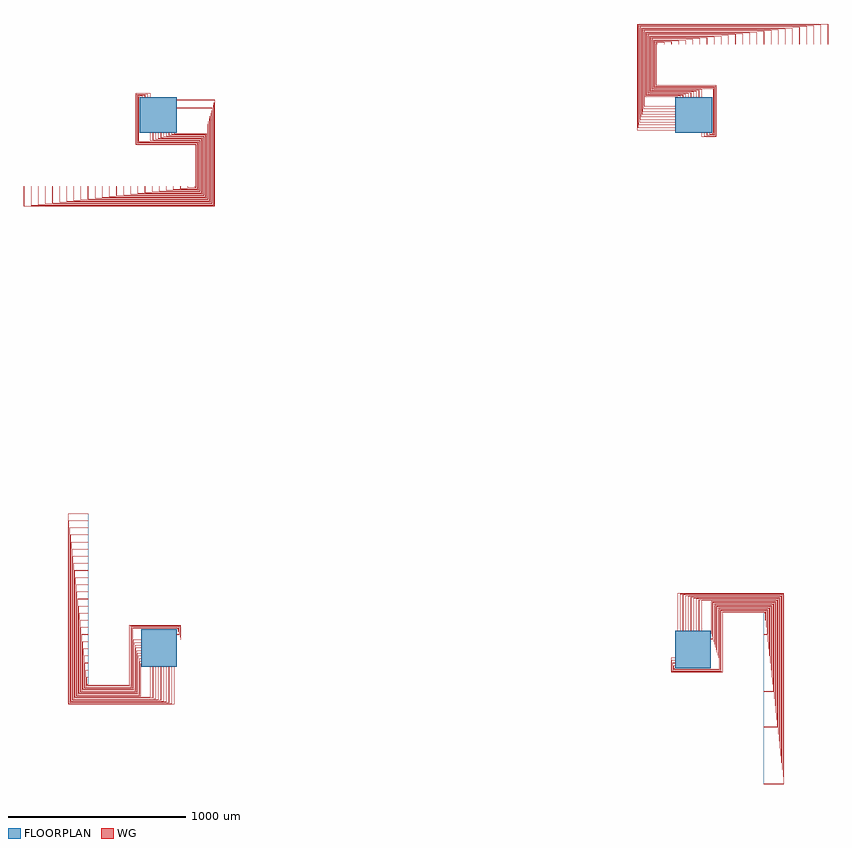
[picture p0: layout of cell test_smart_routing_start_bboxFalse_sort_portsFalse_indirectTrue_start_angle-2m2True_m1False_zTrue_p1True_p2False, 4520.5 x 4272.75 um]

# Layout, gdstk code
import gdstk
lib = gdstk.Library(unit=1e-6, precision=1e-09)
def R(c, l, rs):  # rectangles x0, y0, x1, y1
    for r in rs: c.add(gdstk.rectangle(r[:2], r[2:], *l))
def P(c, l, *ps):  # polygons
    for p in ps: c.add(gdstk.Polygon(p, *l))
WG = (1, 0)
FLOORPLAN = (10, 0)

test_smart_routing_start = lib.new_cell('test_smart_routing_start_bboxFalse_sort_portsFalse_indirectTrue_start_angle-2m2True_m1False_zTrue_p1True_p2False')
P(test_smart_routing_start, WG, [(3049.75,2877.5),(3049.75,2900),(3049.95,2900),(3049.95,2877.7),(3132.55,2877.7),(3132.55,3167.3),(2795.55,3167.3),(2795.55,3404.2),(2799.95,3404.2),(2799.95,3400),(2799.75,3400),(2799.75,3404),(2795.75,3404),(2795.75,3167.5),(3132.75,3167.5),(3132.75,2877.5)],
  [(3050.05,2877.8),(3050.05,2900),(3050.25,2900),(3050.25,2878),(3132.25,2878),(3132.25,3167),(2795.25,3167),(2795.25,3404.5),(2800.25,3404.5),(2800.25,3400),(2800.05,3400),(2800.05,3404.3),(2795.45,3404.3),(2795.45,3167.2),(3132.45,3167.2),(3132.45,2877.8)],
  [(3064.75,2882),(3064.75,2900),(3064.95,2900),(3064.95,2882.2),(3128.05,2882.2),(3128.05,3162.8),(2791.05,3162.8),(2791.05,3408.7),(2839.95,3408.7),(2839.95,3400),(2839.75,3400),(2839.75,3408.5),(2791.25,3408.5),(2791.25,3163),(3128.25,3163),(3128.25,2882)],
  [(3065.05,2882.3),(3065.05,2900),(3065.25,2900),(3065.25,2882.5),(3127.75,2882.5),(3127.75,3162.5),(2790.75,3162.5),(2790.75,3409),(2840.25,3409),(2840.25,3400),(2840.05,3400),(2840.05,3408.8),(2790.95,3408.8),(2790.95,3162.7),(3127.95,3162.7),(3127.95,2882.3)],
  [(3079.75,2886.5),(3079.75,2900),(3079.95,2900),(3079.95,2886.7),(3123.55,2886.7),(3123.55,3158.3),(2786.55,3158.3),(2786.55,3413.2),(2879.95,3413.2),(2879.95,3400),(2879.75,3400),(2879.75,3413),(2786.75,3413),(2786.75,3158.5),(3123.75,3158.5),(3123.75,2886.5)],
  [(3080.05,2886.8),(3080.05,2900),(3080.25,2900),(3080.25,2887),(3123.25,2887),(3123.25,3158),(2786.25,3158),(2786.25,3413.5),(2880.25,3413.5),(2880.25,3400),(2880.05,3400),(2880.05,3413.3),(2786.45,3413.3),(2786.45,3158.2),(3123.45,3158.2),(3123.45,2886.8)],
  [(3094.75,2891),(3094.75,2900),(3094.95,2900),(3094.95,2891.2),(3119.05,2891.2),(3119.05,3153.8),(2782.05,3153.8),(2782.05,3417.7),(2919.95,3417.7),(2919.95,3400),(2919.75,3400),(2919.75,3417.5),(2782.25,3417.5),(2782.25,3154),(3119.25,3154),(3119.25,2891)],
  [(3095.05,2891.3),(3095.05,2900),(3095.25,2900),(3095.25,2891.5),(3118.75,2891.5),(3118.75,3153.5),(2781.75,3153.5),(2781.75,3418),(2920.25,3418),(2920.25,3400),(2920.05,3400),(2920.05,3417.8),(2781.95,3417.8),(2781.95,3153.7),(3118.95,3153.7),(3118.95,2891.3)],
  [(3109.75,2895.5),(3109.75,2900),(3109.95,2900),(3109.95,2895.7),(3114.55,2895.7),(3114.55,3149.3),(2777.55,3149.3),(2777.55,3422.2),(2959.95,3422.2),(2959.95,3400),(2959.75,3400),(2959.75,3422),(2777.75,3422),(2777.75,3149.5),(3114.75,3149.5),(3114.75,2895.5)],
  [(3110.05,2895.8),(3110.05,2900),(3110.25,2900),(3110.25,2896),(3114.25,2896),(3114.25,3149),(2777.25,3149),(2777.25,3422.5),(2960.25,3422.5),(2960.25,3400),(2960.05,3400),(2960.05,3422.3),(2777.45,3422.3),(2777.45,3149.2),(3114.45,3149.2),(3114.45,2895.8)],
  [(3050.05,3100),(3050.05,3144.8),(2773.05,3144.8),(2773.05,3426.7),(2999.95,3426.7),(2999.95,3400),(2999.75,3400),(2999.75,3426.5),(2773.25,3426.5),(2773.25,3145),(3050.25,3145),(3050.25,3100)],
  [(3049.75,3100),(3049.75,3144.5),(2772.75,3144.5),(2772.75,3427),(3000.25,3427),(3000.25,3400),(3000.05,3400),(3000.05,3426.8),(2772.95,3426.8),(2772.95,3144.7),(3049.95,3144.7),(3049.95,3100)],
  [(3035.05,3100),(3035.05,3140.3),(2768.55,3140.3),(2768.55,3431.2),(3039.95,3431.2),(3039.95,3400),(3039.75,3400),(3039.75,3431),(2768.75,3431),(2768.75,3140.5),(3035.25,3140.5),(3035.25,3100)],
  [(3034.75,3100),(3034.75,3140),(2768.25,3140),(2768.25,3431.5),(3040.25,3431.5),(3040.25,3400),(3040.05,3400),(3040.05,3431.3),(2768.45,3431.3),(2768.45,3140.2),(3034.95,3140.2),(3034.95,3100)],
  [(3020.05,3100),(3020.05,3135.8),(2764.05,3135.8),(2764.05,3435.7),(3079.95,3435.7),(3079.95,3400),(3079.75,3400),(3079.75,3435.5),(2764.25,3435.5),(2764.25,3136),(3020.25,3136),(3020.25,3100)],
  [(3019.75,3100),(3019.75,3135.5),(2763.75,3135.5),(2763.75,3436),(3080.25,3436),(3080.25,3400),(3080.05,3400),(3080.05,3435.8),(2763.95,3435.8),(2763.95,3135.7),(3019.95,3135.7),(3019.95,3100)],
  [(3005.05,3100),(3005.05,3131.3),(2759.55,3131.3),(2759.55,3440.2),(3119.95,3440.2),(3119.95,3400),(3119.75,3400),(3119.75,3440),(2759.75,3440),(2759.75,3131.5),(3005.25,3131.5),(3005.25,3100)],
  [(3004.75,3100),(3004.75,3131),(2759.25,3131),(2759.25,3440.5),(3120.25,3440.5),(3120.25,3400),(3120.05,3400),(3120.05,3440.3),(2759.45,3440.3),(2759.45,3131.2),(3004.95,3131.2),(3004.95,3100)],
  [(2990.05,3100),(2990.05,3126.8),(2755.05,3126.8),(2755.05,3444.7),(3159.95,3444.7),(3159.95,3400),(3159.75,3400),(3159.75,3444.5),(2755.25,3444.5),(2755.25,3127),(2990.25,3127),(2990.25,3100)],
  [(2989.75,3100),(2989.75,3126.5),(2754.75,3126.5),(2754.75,3445),(3160.25,3445),(3160.25,3400),(3160.05,3400),(3160.05,3444.8),(2754.95,3444.8),(2754.95,3126.7),(2989.95,3126.7),(2989.95,3100)],
  [(2975.05,3100),(2975.05,3122.3),(2750.55,3122.3),(2750.55,3449.2),(3199.95,3449.2),(3199.95,3400),(3199.75,3400),(3199.75,3449),(2750.75,3449),(2750.75,3122.5),(2975.25,3122.5),(2975.25,3100)],
  [(2974.75,3100),(2974.75,3122),(2750.25,3122),(2750.25,3449.5),(3200.25,3449.5),(3200.25,3400),(3200.05,3400),(3200.05,3449.3),(2750.45,3449.3),(2750.45,3122.2),(2974.95,3122.2),(2974.95,3100)],
  [(2960.05,3100),(2960.05,3117.8),(2746.05,3117.8),(2746.05,3453.7),(3239.95,3453.7),(3239.95,3400),(3239.75,3400),(3239.75,3453.5),(2746.25,3453.5),(2746.25,3118),(2960.25,3118),(2960.25,3100)],
  [(2959.75,3100),(2959.75,3117.5),(2745.75,3117.5),(2745.75,3454),(3240.25,3454),(3240.25,3400),(3240.05,3400),(3240.05,3453.8),(2745.95,3453.8),(2745.95,3117.7),(2959.95,3117.7),(2959.95,3100)],
  [(2945.05,3100),(2945.05,3113.3),(2741.55,3113.3),(2741.55,3458.2),(3279.95,3458.2),(3279.95,3400),(3279.75,3400),(3279.75,3458),(2741.75,3458),(2741.75,3113.5),(2945.25,3113.5),(2945.25,3100)],
  [(2944.75,3100),(2944.75,3113),(2741.25,3113),(2741.25,3458.5),(3280.25,3458.5),(3280.25,3400),(3280.05,3400),(3280.05,3458.3),(2741.45,3458.3),(2741.45,3113.2),(2944.95,3113.2),(2944.95,3100)],
  [(2930.05,3100),(2930.05,3108.8),(2737.05,3108.8),(2737.05,3462.7),(3319.95,3462.7),(3319.95,3400),(3319.75,3400),(3319.75,3462.5),(2737.25,3462.5),(2737.25,3109),(2930.25,3109),(2930.25,3100)],
  [(2929.75,3100),(2929.75,3108.5),(2736.75,3108.5),(2736.75,3463),(3320.25,3463),(3320.25,3400),(3320.05,3400),(3320.05,3462.8),(2736.95,3462.8),(2736.95,3108.7),(2929.95,3108.7),(2929.95,3100)],
  [(2915.05,3100),(2915.05,3104.3),(2732.55,3104.3),(2732.55,3467.2),(3359.95,3467.2),(3359.95,3400),(3359.75,3400),(3359.75,3467),(2732.75,3467),(2732.75,3104.5),(2915.25,3104.5),(2915.25,3100)],
  [(2914.75,3100),(2914.75,3104),(2732.25,3104),(2732.25,3467.5),(3360.25,3467.5),(3360.25,3400),(3360.05,3400),(3360.05,3467.3),(2732.45,3467.3),(2732.45,3104.2),(2914.95,3104.2),(2914.95,3100)],
  [(2728.05,3050.05),(2728.05,3471.7),(3399.95,3471.7),(3399.95,3400),(3399.75,3400),(3399.75,3471.5),(2728.25,3471.5),(2728.25,3050.25),(2900,3050.25),(2900,3050.05)],
  [(2727.75,3049.75),(2727.75,3472),(3400.25,3472),(3400.25,3400),(3400.05,3400),(3400.05,3471.8),(2727.95,3471.8),(2727.95,3049.95),(2900,3049.95),(2900,3049.75)],
  [(2723.55,3035.05),(2723.55,3476.2),(3439.95,3476.2),(3439.95,3400),(3439.75,3400),(3439.75,3476),(2723.75,3476),(2723.75,3035.25),(2900,3035.25),(2900,3035.05)],
  [(2723.25,3034.75),(2723.25,3476.5),(3440.25,3476.5),(3440.25,3400),(3440.05,3400),(3440.05,3476.3),(2723.45,3476.3),(2723.45,3034.95),(2900,3034.95),(2900,3034.75)],
  [(2719.05,3020.05),(2719.05,3480.7),(3479.95,3480.7),(3479.95,3400),(3479.75,3400),(3479.75,3480.5),(2719.25,3480.5),(2719.25,3020.25),(2900,3020.25),(2900,3020.05)],
  [(2718.75,3019.75),(2718.75,3481),(3480.25,3481),(3480.25,3400),(3480.05,3400),(3480.05,3480.8),(2718.95,3480.8),(2718.95,3019.95),(2900,3019.95),(2900,3019.75)],
  [(2714.55,3005.05),(2714.55,3485.2),(3519.95,3485.2),(3519.95,3400),(3519.75,3400),(3519.75,3485),(2714.75,3485),(2714.75,3005.25),(2900,3005.25),(2900,3005.05)],
  [(2714.25,3004.75),(2714.25,3485.5),(3520.25,3485.5),(3520.25,3400),(3520.05,3400),(3520.05,3485.3),(2714.45,3485.3),(2714.45,3004.95),(2900,3004.95),(2900,3004.75)],
  [(2710.05,2990.05),(2710.05,3489.7),(3559.95,3489.7),(3559.95,3400),(3559.75,3400),(3559.75,3489.5),(2710.25,3489.5),(2710.25,2990.25),(2900,2990.25),(2900,2990.05)],
  [(2709.75,2989.75),(2709.75,3490),(3560.25,3490),(3560.25,3400),(3560.05,3400),(3560.05,3489.8),(2709.95,3489.8),(2709.95,2989.95),(2900,2989.95),(2900,2989.75)],
  [(2705.55,2975.05),(2705.55,3494.2),(3599.95,3494.2),(3599.95,3400),(3599.75,3400),(3599.75,3494),(2705.75,3494),(2705.75,2975.25),(2900,2975.25),(2900,2975.05)],
  [(2705.25,2974.75),(2705.25,3494.5),(3600.25,3494.5),(3600.25,3400),(3600.05,3400),(3600.05,3494.3),(2705.45,3494.3),(2705.45,2974.95),(2900,2974.95),(2900,2974.75)],
  [(2701.05,2960.05),(2701.05,3498.7),(3639.95,3498.7),(3639.95,3400),(3639.75,3400),(3639.75,3498.5),(2701.25,3498.5),(2701.25,2960.25),(2900,2960.25),(2900,2960.05)],
  [(2700.75,2959.75),(2700.75,3499),(3640.25,3499),(3640.25,3400),(3640.05,3400),(3640.05,3498.8),(2700.95,3498.8),(2700.95,2959.95),(2900,2959.95),(2900,2959.75)],
  [(2696.55,2945.05),(2696.55,3503.2),(3679.95,3503.2),(3679.95,3400),(3679.75,3400),(3679.75,3503),(2696.75,3503),(2696.75,2945.25),(2900,2945.25),(2900,2945.05)],
  [(2696.25,2944.75),(2696.25,3503.5),(3680.25,3503.5),(3680.25,3400),(3680.05,3400),(3680.05,3503.3),(2696.45,3503.3),(2696.45,2944.95),(2900,2944.95),(2900,2944.75)],
  [(2692.05,2930.05),(2692.05,3507.7),(3719.95,3507.7),(3719.95,3400),(3719.75,3400),(3719.75,3507.5),(2692.25,3507.5),(2692.25,2930.25),(2900,2930.25),(2900,2930.05)],
  [(2691.75,2929.75),(2691.75,3508),(3720.25,3508),(3720.25,3400),(3720.05,3400),(3720.05,3507.8),(2691.95,3507.8),(2691.95,2929.95),(2900,2929.95),(2900,2929.75)],
  [(2687.55,2915.05),(2687.55,3512.2),(3759.95,3512.2),(3759.95,3400),(3759.75,3400),(3759.75,3512),(2687.75,3512),(2687.75,2915.25),(2900,2915.25),(2900,2915.05)],
  [(2687.25,2914.75),(2687.25,3512.5),(3760.25,3512.5),(3760.25,3400),(3760.05,3400),(3760.05,3512.3),(2687.45,3512.3),(2687.45,2914.95),(2900,2914.95),(2900,2914.75)],
  [(199.75,2595.5),(199.75,2600),(199.95,2600),(199.95,2595.7),(204.55,2595.7),(204.55,2832.8),(-132.45,2832.8),(-132.45,3122.2),(-50.05,3122.2),(-50.05,3100),(-50.25,3100),(-50.25,3122),(-132.25,3122),(-132.25,2833),(204.75,2833),(204.75,2595.5)],
  [(200.05,2595.8),(200.05,2600),(200.25,2600),(200.25,2596),(204.25,2596),(204.25,2832.5),(-132.75,2832.5),(-132.75,3122.5),(-49.75,3122.5),(-49.75,3100),(-49.95,3100),(-49.95,3122.3),(-132.55,3122.3),(-132.55,2832.7),(204.45,2832.7),(204.45,2595.8)],
  [(159.75,2591),(159.75,2600),(159.95,2600),(159.95,2591.2),(209.05,2591.2),(209.05,2837.3),(-127.95,2837.3),(-127.95,3117.7),(-65.05,3117.7),(-65.05,3100),(-65.25,3100),(-65.25,3117.5),(-127.75,3117.5),(-127.75,2837.5),(209.25,2837.5),(209.25,2591)],
  [(160.05,2591.3),(160.05,2600),(160.25,2600),(160.25,2591.5),(208.75,2591.5),(208.75,2837),(-128.25,2837),(-128.25,3118),(-64.75,3118),(-64.75,3100),(-64.95,3100),(-64.95,3117.8),(-128.05,3117.8),(-128.05,2837.2),(208.95,2837.2),(208.95,2591.3)],
  [(119.75,2586.5),(119.75,2600),(119.95,2600),(119.95,2586.7),(213.55,2586.7),(213.55,2841.8),(-123.45,2841.8),(-123.45,3113.2),(-80.05,3113.2),(-80.05,3100),(-80.25,3100),(-80.25,3113),(-123.25,3113),(-123.25,2842),(213.75,2842),(213.75,2586.5)],
  [(120.05,2586.8),(120.05,2600),(120.25,2600),(120.25,2587),(213.25,2587),(213.25,2841.5),(-123.75,2841.5),(-123.75,3113.5),(-79.75,3113.5),(-79.75,3100),(-79.95,3100),(-79.95,3113.3),(-123.55,3113.3),(-123.55,2841.7),(213.45,2841.7),(213.45,2586.8)],
  [(79.75,2582),(79.75,2600),(79.95,2600),(79.95,2582.2),(218.05,2582.2),(218.05,2846.3),(-118.95,2846.3),(-118.95,3108.7),(-95.05,3108.7),(-95.05,3100),(-95.25,3100),(-95.25,3108.5),(-118.75,3108.5),(-118.75,2846.5),(218.25,2846.5),(218.25,2582)],
  [(80.05,2582.3),(80.05,2600),(80.25,2600),(80.25,2582.5),(217.75,2582.5),(217.75,2846),(-119.25,2846),(-119.25,3109),(-94.75,3109),(-94.75,3100),(-94.95,3100),(-94.95,3108.8),(-119.05,3108.8),(-119.05,2846.2),(217.95,2846.2),(217.95,2582.3)],
  [(39.75,2577.5),(39.75,2600),(39.95,2600),(39.95,2577.7),(222.55,2577.7),(222.55,2850.8),(-114.45,2850.8),(-114.45,3104.2),(-110.05,3104.2),(-110.05,3100),(-110.25,3100),(-110.25,3104),(-114.25,3104),(-114.25,2851),(222.75,2851),(222.75,2577.5)],
  [(40.05,2577.8),(40.05,2600),(40.25,2600),(40.25,2578),(222.25,2578),(222.25,2850.5),(-114.75,2850.5),(-114.75,3104.5),(-109.75,3104.5),(-109.75,3100),(-109.95,3100),(-109.95,3104.3),(-114.55,3104.3),(-114.55,2850.7),(222.45,2850.7),(222.45,2577.8)],
  [(0.05,2573.3),(0.05,2600),(0.25,2600),(0.25,2573.5),(226.75,2573.5),(226.75,2855),(-50.25,2855),(-50.25,2900),(-50.05,2900),(-50.05,2855.2),(226.95,2855.2),(226.95,2573.3)],
  [(-0.25,2573),(-0.25,2600),(-0.05,2600),(-0.05,2573.2),(227.05,2573.2),(227.05,2855.3),(-49.95,2855.3),(-49.95,2900),(-49.75,2900),(-49.75,2855.5),(227.25,2855.5),(227.25,2573)],
  [(-39.95,2568.8),(-39.95,2600),(-39.75,2600),(-39.75,2569),(231.25,2569),(231.25,2859.5),(-35.25,2859.5),(-35.25,2900),(-35.05,2900),(-35.05,2859.7),(231.45,2859.7),(231.45,2568.8)],
  [(-40.25,2568.5),(-40.25,2600),(-40.05,2600),(-40.05,2568.7),(231.55,2568.7),(231.55,2859.8),(-34.95,2859.8),(-34.95,2900),(-34.75,2900),(-34.75,2860),(231.75,2860),(231.75,2568.5)],
  [(-79.95,2564.3),(-79.95,2600),(-79.75,2600),(-79.75,2564.5),(235.75,2564.5),(235.75,2864),(-20.25,2864),(-20.25,2900),(-20.05,2900),(-20.05,2864.2),(235.95,2864.2),(235.95,2564.3)],
  [(-80.25,2564),(-80.25,2600),(-80.05,2600),(-80.05,2564.2),(236.05,2564.2),(236.05,2864.3),(-19.95,2864.3),(-19.95,2900),(-19.75,2900),(-19.75,2864.5),(236.25,2864.5),(236.25,2564)],
  [(-119.95,2559.8),(-119.95,2600),(-119.75,2600),(-119.75,2560),(240.25,2560),(240.25,2868.5),(-5.25,2868.5),(-5.25,2900),(-5.05,2900),(-5.05,2868.7),(240.45,2868.7),(240.45,2559.8)],
  [(-120.25,2559.5),(-120.25,2600),(-120.05,2600),(-120.05,2559.7),(240.55,2559.7),(240.55,2868.8),(-4.95,2868.8),(-4.95,2900),(-4.75,2900),(-4.75,2869),(240.75,2869),(240.75,2559.5)],
  [(-159.95,2555.3),(-159.95,2600),(-159.75,2600),(-159.75,2555.5),(244.75,2555.5),(244.75,2873),(9.75,2873),(9.75,2900),(9.95,2900),(9.95,2873.2),(244.95,2873.2),(244.95,2555.3)],
  [(-160.25,2555),(-160.25,2600),(-160.05,2600),(-160.05,2555.2),(245.05,2555.2),(245.05,2873.3),(10.05,2873.3),(10.05,2900),(10.25,2900),(10.25,2873.5),(245.25,2873.5),(245.25,2555)],
  [(-199.95,2550.8),(-199.95,2600),(-199.75,2600),(-199.75,2551),(249.25,2551),(249.25,2877.5),(24.75,2877.5),(24.75,2900),(24.95,2900),(24.95,2877.7),(249.45,2877.7),(249.45,2550.8)],
  [(-200.25,2550.5),(-200.25,2600),(-200.05,2600),(-200.05,2550.7),(249.55,2550.7),(249.55,2877.8),(25.05,2877.8),(25.05,2900),(25.25,2900),(25.25,2878),(249.75,2878),(249.75,2550.5)],
  [(-239.95,2546.3),(-239.95,2600),(-239.75,2600),(-239.75,2546.5),(253.75,2546.5),(253.75,2882),(39.75,2882),(39.75,2900),(39.95,2900),(39.95,2882.2),(253.95,2882.2),(253.95,2546.3)],
  [(-240.25,2546),(-240.25,2600),(-240.05,2600),(-240.05,2546.2),(254.05,2546.2),(254.05,2882.3),(40.05,2882.3),(40.05,2900),(40.25,2900),(40.25,2882.5),(254.25,2882.5),(254.25,2546)],
  [(-279.95,2541.8),(-279.95,2600),(-279.75,2600),(-279.75,2542),(258.25,2542),(258.25,2886.5),(54.75,2886.5),(54.75,2900),(54.95,2900),(54.95,2886.7),(258.45,2886.7),(258.45,2541.8)],
  [(-280.25,2541.5),(-280.25,2600),(-280.05,2600),(-280.05,2541.7),(258.55,2541.7),(258.55,2886.8),(55.05,2886.8),(55.05,2900),(55.25,2900),(55.25,2887),(258.75,2887),(258.75,2541.5)],
  [(-319.95,2537.3),(-319.95,2600),(-319.75,2600),(-319.75,2537.5),(262.75,2537.5),(262.75,2891),(69.75,2891),(69.75,2900),(69.95,2900),(69.95,2891.2),(262.95,2891.2),(262.95,2537.3)],
  [(-320.25,2537),(-320.25,2600),(-320.05,2600),(-320.05,2537.2),(263.05,2537.2),(263.05,2891.3),(70.05,2891.3),(70.05,2900),(70.25,2900),(70.25,2891.5),(263.25,2891.5),(263.25,2537)],
  [(-359.95,2532.8),(-359.95,2600),(-359.75,2600),(-359.75,2533),(267.25,2533),(267.25,2895.5),(84.75,2895.5),(84.75,2900),(84.95,2900),(84.95,2895.7),(267.45,2895.7),(267.45,2532.8)],
  [(-360.25,2532.5),(-360.25,2600),(-360.05,2600),(-360.05,2532.7),(267.55,2532.7),(267.55,2895.8),(85.05,2895.8),(85.05,2900),(85.25,2900),(85.25,2896),(267.75,2896),(267.75,2532.5)],
  [(-399.95,2528.3),(-399.95,2600),(-399.75,2600),(-399.75,2528.5),(271.75,2528.5),(271.75,2949.75),(100,2949.75),(100,2949.95),(271.95,2949.95),(271.95,2528.3)],
  [(-400.25,2528),(-400.25,2600),(-400.05,2600),(-400.05,2528.2),(272.05,2528.2),(272.05,2950.05),(100,2950.05),(100,2950.25),(272.25,2950.25),(272.25,2528)],
  [(-439.95,2523.8),(-439.95,2600),(-439.75,2600),(-439.75,2524),(276.25,2524),(276.25,2964.75),(100,2964.75),(100,2964.95),(276.45,2964.95),(276.45,2523.8)],
  [(-440.25,2523.5),(-440.25,2600),(-440.05,2600),(-440.05,2523.7),(276.55,2523.7),(276.55,2965.05),(100,2965.05),(100,2965.25),(276.75,2965.25),(276.75,2523.5)],
  [(-479.95,2519.3),(-479.95,2600),(-479.75,2600),(-479.75,2519.5),(280.75,2519.5),(280.75,2979.75),(100,2979.75),(100,2979.95),(280.95,2979.95),(280.95,2519.3)],
  [(-480.25,2519),(-480.25,2600),(-480.05,2600),(-480.05,2519.2),(281.05,2519.2),(281.05,2980.05),(100,2980.05),(100,2980.25),(281.25,2980.25),(281.25,2519)],
  [(-519.95,2514.8),(-519.95,2600),(-519.75,2600),(-519.75,2515),(285.25,2515),(285.25,2994.75),(100,2994.75),(100,2994.95),(285.45,2994.95),(285.45,2514.8)],
  [(-520.25,2514.5),(-520.25,2600),(-520.05,2600),(-520.05,2514.7),(285.55,2514.7),(285.55,2995.05),(100,2995.05),(100,2995.25),(285.75,2995.25),(285.75,2514.5)],
  [(-559.95,2510.3),(-559.95,2600),(-559.75,2600),(-559.75,2510.5),(289.75,2510.5),(289.75,3009.75),(100,3009.75),(100,3009.95),(289.95,3009.95),(289.95,2510.3)],
  [(-560.25,2510),(-560.25,2600),(-560.05,2600),(-560.05,2510.2),(290.05,2510.2),(290.05,3010.05),(100,3010.05),(100,3010.25),(290.25,3010.25),(290.25,2510)],
  [(-599.95,2505.8),(-599.95,2600),(-599.75,2600),(-599.75,2506),(294.25,2506),(294.25,3024.75),(100,3024.75),(100,3024.95),(294.45,3024.95),(294.45,2505.8)],
  [(-600.25,2505.5),(-600.25,2600),(-600.05,2600),(-600.05,2505.7),(294.55,2505.7),(294.55,3025.05),(100,3025.05),(100,3025.25),(294.75,3025.25),(294.75,2505.5)],
  [(-639.95,2501.3),(-639.95,2600),(-639.75,2600),(-639.75,2501.5),(298.75,2501.5),(298.75,3039.75),(100,3039.75),(100,3039.95),(298.95,3039.95),(298.95,2501.3)],
  [(-640.25,2501),(-640.25,2600),(-640.05,2600),(-640.05,2501.2),(299.05,2501.2),(299.05,3040.05),(100,3040.05),(100,3040.25),(299.25,3040.25),(299.25,2501)],
  [(-679.95,2496.8),(-679.95,2600),(-679.75,2600),(-679.75,2497),(303.25,2497),(303.25,3054.75),(100,3054.75),(100,3054.95),(303.45,3054.95),(303.45,2496.8)],
  [(-680.25,2496.5),(-680.25,2600),(-680.05,2600),(-680.05,2496.7),(303.55,2496.7),(303.55,3055.05),(100,3055.05),(100,3055.25),(303.75,3055.25),(303.75,2496.5)],
  [(-719.95,2492.3),(-719.95,2600),(-719.75,2600),(-719.75,2492.5),(307.75,2492.5),(307.75,3069.75),(100,3069.75),(100,3069.95),(307.95,3069.95),(307.95,2492.3)],
  [(-720.25,2492),(-720.25,2600),(-720.05,2600),(-720.05,2492.2),(308.05,2492.2),(308.05,3070.05),(100,3070.05),(100,3070.25),(308.25,3070.25),(308.25,2492)],
  [(-759.95,2487.8),(-759.95,2600),(-759.75,2600),(-759.75,2488),(312.25,2488),(312.25,3084.75),(100,3084.75),(100,3084.95),(312.45,3084.95),(312.45,2487.8)],
  [(-760.25,2487.5),(-760.25,2600),(-760.05,2600),(-760.05,2487.7),(312.55,2487.7),(312.55,3085.05),(100,3085.05),(100,3085.25),(312.75,3085.25),(312.75,2487.5)],
  [(-404.5,-204.75),(-404.5,-199.75),(-400,-199.75),(-400,-199.95),(-404.3,-199.95),(-404.3,-204.55),(-167.2,-204.55),(-167.2,132.45),(122.2,132.45),(122.2,50.05),(100,50.05),(100,50.25),(122,50.25),(122,132.25),(-167,132.25),(-167,-204.75)],
  [(-404.2,-204.45),(-404.2,-200.05),(-400,-200.05),(-400,-200.25),(-404,-200.25),(-404,-204.25),(-167.5,-204.25),(-167.5,132.75),(122.5,132.75),(122.5,49.75),(100,49.75),(100,49.95),(122.3,49.95),(122.3,132.55),(-167.3,132.55),(-167.3,-204.45)],
  [(-409,-209.25),(-409,-159.75),(-400,-159.75),(-400,-159.95),(-408.8,-159.95),(-408.8,-209.05),(-162.7,-209.05),(-162.7,127.95),(117.7,127.95),(117.7,65.05),(100,65.05),(100,65.25),(117.5,65.25),(117.5,127.75),(-162.5,127.75),(-162.5,-209.25)],
  [(-408.7,-208.95),(-408.7,-160.05),(-400,-160.05),(-400,-160.25),(-408.5,-160.25),(-408.5,-208.75),(-163,-208.75),(-163,128.25),(118,128.25),(118,64.75),(100,64.75),(100,64.95),(117.8,64.95),(117.8,128.05),(-162.8,128.05),(-162.8,-208.95)],
  [(-413.5,-213.75),(-413.5,-119.75),(-400,-119.75),(-400,-119.95),(-413.3,-119.95),(-413.3,-213.55),(-158.2,-213.55),(-158.2,123.45),(113.2,123.45),(113.2,80.05),(100,80.05),(100,80.25),(113,80.25),(113,123.25),(-158,123.25),(-158,-213.75)],
  [(-413.2,-213.45),(-413.2,-120.05),(-400,-120.05),(-400,-120.25),(-413,-120.25),(-413,-213.25),(-158.5,-213.25),(-158.5,123.75),(113.5,123.75),(113.5,79.75),(100,79.75),(100,79.95),(113.3,79.95),(113.3,123.55),(-158.3,123.55),(-158.3,-213.45)],
  [(-418,-218.25),(-418,-79.75),(-400,-79.75),(-400,-79.95),(-417.8,-79.95),(-417.8,-218.05),(-153.7,-218.05),(-153.7,118.95),(108.7,118.95),(108.7,95.05),(100,95.05),(100,95.25),(108.5,95.25),(108.5,118.75),(-153.5,118.75),(-153.5,-218.25)],
  [(-417.7,-217.95),(-417.7,-80.05),(-400,-80.05),(-400,-80.25),(-417.5,-80.25),(-417.5,-217.75),(-154,-217.75),(-154,119.25),(109,119.25),(109,94.75),(100,94.75),(100,94.95),(108.8,94.95),(108.8,119.05),(-153.8,119.05),(-153.8,-217.95)],
  [(-422.5,-222.75),(-422.5,-39.75),(-400,-39.75),(-400,-39.95),(-422.3,-39.95),(-422.3,-222.55),(-149.2,-222.55),(-149.2,114.45),(104.2,114.45),(104.2,110.05),(100,110.05),(100,110.25),(104,110.25),(104,114.25),(-149,114.25),(-149,-222.75)],
  [(-422.2,-222.45),(-422.2,-40.05),(-400,-40.05),(-400,-40.25),(-422,-40.25),(-422,-222.25),(-149.5,-222.25),(-149.5,114.75),(104.5,114.75),(104.5,109.75),(100,109.75),(100,109.95),(104.3,109.95),(104.3,114.55),(-149.3,114.55),(-149.3,-222.45)],
  [(-427,-227.25),(-427,0.25),(-400,0.25),(-400,0.05),(-426.8,0.05),(-426.8,-227.05),(-144.7,-227.05),(-144.7,49.95),(-100,49.95),(-100,49.75),(-144.5,49.75),(-144.5,-227.25)],
  [(-426.7,-226.95),(-426.7,-0.05),(-400,-0.05),(-400,-0.25),(-426.5,-0.25),(-426.5,-226.75),(-145,-226.75),(-145,50.25),(-100,50.25),(-100,50.05),(-144.8,50.05),(-144.8,-226.95)],
  [(-431.2,-231.45),(-431.2,39.95),(-400,39.95),(-400,39.75),(-431,39.75),(-431,-231.25),(-140.5,-231.25),(-140.5,35.25),(-100,35.25),(-100,35.05),(-140.3,35.05),(-140.3,-231.45)],
  [(-431.5,-231.75),(-431.5,40.25),(-400,40.25),(-400,40.05),(-431.3,40.05),(-431.3,-231.55),(-140.2,-231.55),(-140.2,34.95),(-100,34.95),(-100,34.75),(-140,34.75),(-140,-231.75)],
  [(-435.7,-235.95),(-435.7,79.95),(-400,79.95),(-400,79.75),(-435.5,79.75),(-435.5,-235.75),(-136,-235.75),(-136,20.25),(-100,20.25),(-100,20.05),(-135.8,20.05),(-135.8,-235.95)],
  [(-436,-236.25),(-436,80.25),(-400,80.25),(-400,80.05),(-435.8,80.05),(-435.8,-236.05),(-135.7,-236.05),(-135.7,19.95),(-100,19.95),(-100,19.75),(-135.5,19.75),(-135.5,-236.25)],
  [(-440.2,-240.45),(-440.2,119.95),(-400,119.95),(-400,119.75),(-440,119.75),(-440,-240.25),(-131.5,-240.25),(-131.5,5.25),(-100,5.25),(-100,5.05),(-131.3,5.05),(-131.3,-240.45)],
  [(-440.5,-240.75),(-440.5,120.25),(-400,120.25),(-400,120.05),(-440.3,120.05),(-440.3,-240.55),(-131.2,-240.55),(-131.2,4.95),(-100,4.95),(-100,4.75),(-131,4.75),(-131,-240.75)],
  [(-444.7,-244.95),(-444.7,159.95),(-400,159.95),(-400,159.75),(-444.5,159.75),(-444.5,-244.75),(-127,-244.75),(-127,-9.75),(-100,-9.75),(-100,-9.95),(-126.8,-9.95),(-126.8,-244.95)],
  [(-445,-245.25),(-445,160.25),(-400,160.25),(-400,160.05),(-444.8,160.05),(-444.8,-245.05),(-126.7,-245.05),(-126.7,-10.05),(-100,-10.05),(-100,-10.25),(-126.5,-10.25),(-126.5,-245.25)],
  [(-449.2,-249.45),(-449.2,199.95),(-400,199.95),(-400,199.75),(-449,199.75),(-449,-249.25),(-122.5,-249.25),(-122.5,-24.75),(-100,-24.75),(-100,-24.95),(-122.3,-24.95),(-122.3,-249.45)],
  [(-449.5,-249.75),(-449.5,200.25),(-400,200.25),(-400,200.05),(-449.3,200.05),(-449.3,-249.55),(-122.2,-249.55),(-122.2,-25.05),(-100,-25.05),(-100,-25.25),(-122,-25.25),(-122,-249.75)],
  [(-453.7,-253.95),(-453.7,239.95),(-400,239.95),(-400,239.75),(-453.5,239.75),(-453.5,-253.75),(-118,-253.75),(-118,-39.75),(-100,-39.75),(-100,-39.95),(-117.8,-39.95),(-117.8,-253.95)],
  [(-454,-254.25),(-454,240.25),(-400,240.25),(-400,240.05),(-453.8,240.05),(-453.8,-254.05),(-117.7,-254.05),(-117.7,-40.05),(-100,-40.05),(-100,-40.25),(-117.5,-40.25),(-117.5,-254.25)],
  [(-458.2,-258.45),(-458.2,279.95),(-400,279.95),(-400,279.75),(-458,279.75),(-458,-258.25),(-113.5,-258.25),(-113.5,-54.75),(-100,-54.75),(-100,-54.95),(-113.3,-54.95),(-113.3,-258.45)],
  [(-458.5,-258.75),(-458.5,280.25),(-400,280.25),(-400,280.05),(-458.3,280.05),(-458.3,-258.55),(-113.2,-258.55),(-113.2,-55.05),(-100,-55.05),(-100,-55.25),(-113,-55.25),(-113,-258.75)],
  [(-462.7,-262.95),(-462.7,319.95),(-400,319.95),(-400,319.75),(-462.5,319.75),(-462.5,-262.75),(-109,-262.75),(-109,-69.75),(-100,-69.75),(-100,-69.95),(-108.8,-69.95),(-108.8,-262.95)],
  [(-463,-263.25),(-463,320.25),(-400,320.25),(-400,320.05),(-462.8,320.05),(-462.8,-263.05),(-108.7,-263.05),(-108.7,-70.05),(-100,-70.05),(-100,-70.25),(-108.5,-70.25),(-108.5,-263.25)],
  [(-467.2,-267.45),(-467.2,359.95),(-400,359.95),(-400,359.75),(-467,359.75),(-467,-267.25),(-104.5,-267.25),(-104.5,-84.75),(-100,-84.75),(-100,-84.95),(-104.3,-84.95),(-104.3,-267.45)],
  [(-467.5,-267.75),(-467.5,360.25),(-400,360.25),(-400,360.05),(-467.3,360.05),(-467.3,-267.55),(-104.2,-267.55),(-104.2,-85.05),(-100,-85.05),(-100,-85.25),(-104,-85.25),(-104,-267.75)],
  [(-471.7,-271.95),(-471.7,399.95),(-400,399.95),(-400,399.75),(-471.5,399.75),(-471.5,-271.75),(-50.25,-271.75),(-50.25,-100),(-50.05,-100),(-50.05,-271.95)],
  [(-472,-272.25),(-472,400.25),(-400,400.25),(-400,400.05),(-471.8,400.05),(-471.8,-272.05),(-49.95,-272.05),(-49.95,-100),(-49.75,-100),(-49.75,-272.25)],
  [(-476.2,-276.45),(-476.2,439.95),(-400,439.95),(-400,439.75),(-476,439.75),(-476,-276.25),(-35.25,-276.25),(-35.25,-100),(-35.05,-100),(-35.05,-276.45)],
  [(-476.5,-276.75),(-476.5,440.25),(-400,440.25),(-400,440.05),(-476.3,440.05),(-476.3,-276.55),(-34.95,-276.55),(-34.95,-100),(-34.75,-100),(-34.75,-276.75)],
  [(-480.7,-280.95),(-480.7,479.95),(-400,479.95),(-400,479.75),(-480.5,479.75),(-480.5,-280.75),(-20.25,-280.75),(-20.25,-100),(-20.05,-100),(-20.05,-280.95)],
  [(-481,-281.25),(-481,480.25),(-400,480.25),(-400,480.05),(-480.8,480.05),(-480.8,-281.05),(-19.95,-281.05),(-19.95,-100),(-19.75,-100),(-19.75,-281.25)],
  [(-485.2,-285.45),(-485.2,519.95),(-400,519.95),(-400,519.75),(-485,519.75),(-485,-285.25),(-5.25,-285.25),(-5.25,-100),(-5.05,-100),(-5.05,-285.45)],
  [(-485.5,-285.75),(-485.5,520.25),(-400,520.25),(-400,520.05),(-485.3,520.05),(-485.3,-285.55),(-4.95,-285.55),(-4.95,-100),(-4.75,-100),(-4.75,-285.75)],
  [(-489.7,-289.95),(-489.7,559.95),(-400,559.95),(-400,559.75),(-489.5,559.75),(-489.5,-289.75),(9.75,-289.75),(9.75,-100),(9.95,-100),(9.95,-289.95)],
  [(-490,-290.25),(-490,560.25),(-400,560.25),(-400,560.05),(-489.8,560.05),(-489.8,-290.05),(10.05,-290.05),(10.05,-100),(10.25,-100),(10.25,-290.25)],
  [(-494.2,-294.45),(-494.2,599.95),(-400,599.95),(-400,599.75),(-494,599.75),(-494,-294.25),(24.75,-294.25),(24.75,-100),(24.95,-100),(24.95,-294.45)],
  [(-494.5,-294.75),(-494.5,600.25),(-400,600.25),(-400,600.05),(-494.3,600.05),(-494.3,-294.55),(25.05,-294.55),(25.05,-100),(25.25,-100),(25.25,-294.75)],
  [(-498.7,-298.95),(-498.7,639.95),(-400,639.95),(-400,639.75),(-498.5,639.75),(-498.5,-298.75),(39.75,-298.75),(39.75,-100),(39.95,-100),(39.95,-298.95)],
  [(-499,-299.25),(-499,640.25),(-400,640.25),(-400,640.05),(-498.8,640.05),(-498.8,-299.05),(40.05,-299.05),(40.05,-100),(40.25,-100),(40.25,-299.25)],
  [(-503.2,-303.45),(-503.2,679.95),(-400,679.95),(-400,679.75),(-503,679.75),(-503,-303.25),(54.75,-303.25),(54.75,-100),(54.95,-100),(54.95,-303.45)],
  [(-503.5,-303.75),(-503.5,680.25),(-400,680.25),(-400,680.05),(-503.3,680.05),(-503.3,-303.55),(55.05,-303.55),(55.05,-100),(55.25,-100),(55.25,-303.75)],
  [(-507.7,-307.95),(-507.7,719.95),(-400,719.95),(-400,719.75),(-507.5,719.75),(-507.5,-307.75),(69.75,-307.75),(69.75,-100),(69.95,-100),(69.95,-307.95)],
  [(-508,-308.25),(-508,720.25),(-400,720.25),(-400,720.05),(-507.8,720.05),(-507.8,-308.05),(70.05,-308.05),(70.05,-100),(70.25,-100),(70.25,-308.25)],
  [(-512.2,-312.45),(-512.2,759.95),(-400,759.95),(-400,759.75),(-512,759.75),(-512,-312.25),(84.75,-312.25),(84.75,-100),(84.95,-100),(84.95,-312.45)],
  [(-512.5,-312.75),(-512.5,760.25),(-400,760.25),(-400,760.05),(-512.3,760.05),(-512.3,-312.55),(85.05,-312.55),(85.05,-100),(85.25,-100),(85.25,-312.75)],
  [(2877.5,-132.75),(2877.5,-49.75),(2900,-49.75),(2900,-49.95),(2877.7,-49.95),(2877.7,-132.55),(3167.3,-132.55),(3167.3,204.45),(3404.2,204.45),(3404.2,200.05),(3400,200.05),(3400,200.25),(3404,200.25),(3404,204.25),(3167.5,204.25),(3167.5,-132.75)],
  [(2877.8,-132.45),(2877.8,-50.05),(2900,-50.05),(2900,-50.25),(2878,-50.25),(2878,-132.25),(3167,-132.25),(3167,204.75),(3404.5,204.75),(3404.5,199.75),(3400,199.75),(3400,199.95),(3404.3,199.95),(3404.3,204.55),(3167.2,204.55),(3167.2,-132.45)],
  [(2882,-128.25),(2882,-64.75),(2900,-64.75),(2900,-64.95),(2882.2,-64.95),(2882.2,-128.05),(3162.8,-128.05),(3162.8,208.95),(3408.7,208.95),(3408.7,160.05),(3400,160.05),(3400,160.25),(3408.5,160.25),(3408.5,208.75),(3163,208.75),(3163,-128.25)],
  [(2882.3,-127.95),(2882.3,-65.05),(2900,-65.05),(2900,-65.25),(2882.5,-65.25),(2882.5,-127.75),(3162.5,-127.75),(3162.5,209.25),(3409,209.25),(3409,159.75),(3400,159.75),(3400,159.95),(3408.8,159.95),(3408.8,209.05),(3162.7,209.05),(3162.7,-127.95)],
  [(2886.5,-123.75),(2886.5,-79.75),(2900,-79.75),(2900,-79.95),(2886.7,-79.95),(2886.7,-123.55),(3158.3,-123.55),(3158.3,213.45),(3413.2,213.45),(3413.2,120.05),(3400,120.05),(3400,120.25),(3413,120.25),(3413,213.25),(3158.5,213.25),(3158.5,-123.75)],
  [(2886.8,-123.45),(2886.8,-80.05),(2900,-80.05),(2900,-80.25),(2887,-80.25),(2887,-123.25),(3158,-123.25),(3158,213.75),(3413.5,213.75),(3413.5,119.75),(3400,119.75),(3400,119.95),(3413.3,119.95),(3413.3,213.55),(3158.2,213.55),(3158.2,-123.45)],
  [(2891,-119.25),(2891,-94.75),(2900,-94.75),(2900,-94.95),(2891.2,-94.95),(2891.2,-119.05),(3153.8,-119.05),(3153.8,217.95),(3417.7,217.95),(3417.7,80.05),(3400,80.05),(3400,80.25),(3417.5,80.25),(3417.5,217.75),(3154,217.75),(3154,-119.25)],
  [(2891.3,-118.95),(2891.3,-95.05),(2900,-95.05),(2900,-95.25),(2891.5,-95.25),(2891.5,-118.75),(3153.5,-118.75),(3153.5,218.25),(3418,218.25),(3418,79.75),(3400,79.75),(3400,79.95),(3417.8,79.95),(3417.8,218.05),(3153.7,218.05),(3153.7,-118.95)],
  [(2895.5,-114.75),(2895.5,-109.75),(2900,-109.75),(2900,-109.95),(2895.7,-109.95),(2895.7,-114.55),(3149.3,-114.55),(3149.3,222.45),(3422.2,222.45),(3422.2,40.05),(3400,40.05),(3400,40.25),(3422,40.25),(3422,222.25),(3149.5,222.25),(3149.5,-114.75)],
  [(2895.8,-114.45),(2895.8,-110.05),(2900,-110.05),(2900,-110.25),(2896,-110.25),(2896,-114.25),(3149,-114.25),(3149,222.75),(3422.5,222.75),(3422.5,39.75),(3400,39.75),(3400,39.95),(3422.3,39.95),(3422.3,222.55),(3149.2,222.55),(3149.2,-114.45)],
  [(3100,-50.25),(3100,-50.05),(3144.8,-50.05),(3144.8,226.95),(3426.7,226.95),(3426.7,0.05),(3400,0.05),(3400,0.25),(3426.5,0.25),(3426.5,226.75),(3145,226.75),(3145,-50.25)],
  [(3100,-49.95),(3100,-49.75),(3144.5,-49.75),(3144.5,227.25),(3427,227.25),(3427,-0.25),(3400,-0.25),(3400,-0.05),(3426.8,-0.05),(3426.8,227.05),(3144.7,227.05),(3144.7,-49.95)],
  [(3400,-39.95),(3400,-39.75),(3431,-39.75),(3431,231.25),(3140.5,231.25),(3140.5,-35.25),(3100,-35.25),(3100,-35.05),(3140.3,-35.05),(3140.3,231.45),(3431.2,231.45),(3431.2,-39.95)],
  [(3400,-40.25),(3400,-40.05),(3431.3,-40.05),(3431.3,231.55),(3140.2,231.55),(3140.2,-34.95),(3100,-34.95),(3100,-34.75),(3140,-34.75),(3140,231.75),(3431.5,231.75),(3431.5,-40.25)],
  [(3400,-79.95),(3400,-79.75),(3435.5,-79.75),(3435.5,235.75),(3136,235.75),(3136,-20.25),(3100,-20.25),(3100,-20.05),(3135.8,-20.05),(3135.8,235.95),(3435.7,235.95),(3435.7,-79.95)],
  [(3400,-80.25),(3400,-80.05),(3435.8,-80.05),(3435.8,236.05),(3135.7,236.05),(3135.7,-19.95),(3100,-19.95),(3100,-19.75),(3135.5,-19.75),(3135.5,236.25),(3436,236.25),(3436,-80.25)],
  [(3400,-119.95),(3400,-119.75),(3440,-119.75),(3440,240.25),(3131.5,240.25),(3131.5,-5.25),(3100,-5.25),(3100,-5.05),(3131.3,-5.05),(3131.3,240.45),(3440.2,240.45),(3440.2,-119.95)],
  [(3400,-120.25),(3400,-120.05),(3440.3,-120.05),(3440.3,240.55),(3131.2,240.55),(3131.2,-4.95),(3100,-4.95),(3100,-4.75),(3131,-4.75),(3131,240.75),(3440.5,240.75),(3440.5,-120.25)],
  [(3400,-159.95),(3400,-159.75),(3444.5,-159.75),(3444.5,244.75),(3127,244.75),(3127,9.75),(3100,9.75),(3100,9.95),(3126.8,9.95),(3126.8,244.95),(3444.7,244.95),(3444.7,-159.95)],
  [(3400,-160.25),(3400,-160.05),(3444.8,-160.05),(3444.8,245.05),(3126.7,245.05),(3126.7,10.05),(3100,10.05),(3100,10.25),(3126.5,10.25),(3126.5,245.25),(3445,245.25),(3445,-160.25)],
  [(3400,-199.95),(3400,-199.75),(3449,-199.75),(3449,249.25),(3122.5,249.25),(3122.5,24.75),(3100,24.75),(3100,24.95),(3122.3,24.95),(3122.3,249.45),(3449.2,249.45),(3449.2,-199.95)],
  [(3400,-200.25),(3400,-200.05),(3449.3,-200.05),(3449.3,249.55),(3122.2,249.55),(3122.2,25.05),(3100,25.05),(3100,25.25),(3122,25.25),(3122,249.75),(3449.5,249.75),(3449.5,-200.25)],
  [(3400,-239.95),(3400,-239.75),(3453.5,-239.75),(3453.5,253.75),(3118,253.75),(3118,39.75),(3100,39.75),(3100,39.95),(3117.8,39.95),(3117.8,253.95),(3453.7,253.95),(3453.7,-239.95)],
  [(3400,-240.25),(3400,-240.05),(3453.8,-240.05),(3453.8,254.05),(3117.7,254.05),(3117.7,40.05),(3100,40.05),(3100,40.25),(3117.5,40.25),(3117.5,254.25),(3454,254.25),(3454,-240.25)],
  [(3400,-279.95),(3400,-279.75),(3458,-279.75),(3458,258.25),(3113.5,258.25),(3113.5,54.75),(3100,54.75),(3100,54.95),(3113.3,54.95),(3113.3,258.45),(3458.2,258.45),(3458.2,-279.95)],
  [(3400,-280.25),(3400,-280.05),(3458.3,-280.05),(3458.3,258.55),(3113.2,258.55),(3113.2,55.05),(3100,55.05),(3100,55.25),(3113,55.25),(3113,258.75),(3458.5,258.75),(3458.5,-280.25)],
  [(3400,-319.95),(3400,-319.75),(3462.5,-319.75),(3462.5,262.75),(3109,262.75),(3109,69.75),(3100,69.75),(3100,69.95),(3108.8,69.95),(3108.8,262.95),(3462.7,262.95),(3462.7,-319.95)],
  [(3400,-320.25),(3400,-320.05),(3462.8,-320.05),(3462.8,263.05),(3108.7,263.05),(3108.7,70.05),(3100,70.05),(3100,70.25),(3108.5,70.25),(3108.5,263.25),(3463,263.25),(3463,-320.25)],
  [(3400,-359.95),(3400,-359.75),(3467,-359.75),(3467,267.25),(3104.5,267.25),(3104.5,84.75),(3100,84.75),(3100,84.95),(3104.3,84.95),(3104.3,267.45),(3467.2,267.45),(3467.2,-359.95)],
  [(3400,-360.25),(3400,-360.05),(3467.3,-360.05),(3467.3,267.55),(3104.2,267.55),(3104.2,85.05),(3100,85.05),(3100,85.25),(3104,85.25),(3104,267.75),(3467.5,267.75),(3467.5,-360.25)],
  [(3400,-399.95),(3400,-399.75),(3471.5,-399.75),(3471.5,271.75),(3050.25,271.75),(3050.25,100),(3050.05,100),(3050.05,271.95),(3471.7,271.95),(3471.7,-399.95)],
  [(3400,-400.25),(3400,-400.05),(3471.8,-400.05),(3471.8,272.05),(3049.95,272.05),(3049.95,100),(3049.75,100),(3049.75,272.25),(3472,272.25),(3472,-400.25)],
  [(3400,-439.95),(3400,-439.75),(3476,-439.75),(3476,276.25),(3035.25,276.25),(3035.25,100),(3035.05,100),(3035.05,276.45),(3476.2,276.45),(3476.2,-439.95)],
  [(3400,-440.25),(3400,-440.05),(3476.3,-440.05),(3476.3,276.55),(3034.95,276.55),(3034.95,100),(3034.75,100),(3034.75,276.75),(3476.5,276.75),(3476.5,-440.25)],
  [(3400,-479.95),(3400,-479.75),(3480.5,-479.75),(3480.5,280.75),(3020.25,280.75),(3020.25,100),(3020.05,100),(3020.05,280.95),(3480.7,280.95),(3480.7,-479.95)],
  [(3400,-480.25),(3400,-480.05),(3480.8,-480.05),(3480.8,281.05),(3019.95,281.05),(3019.95,100),(3019.75,100),(3019.75,281.25),(3481,281.25),(3481,-480.25)],
  [(3400,-519.95),(3400,-519.75),(3485,-519.75),(3485,285.25),(3005.25,285.25),(3005.25,100),(3005.05,100),(3005.05,285.45),(3485.2,285.45),(3485.2,-519.95)],
  [(3400,-520.25),(3400,-520.05),(3485.3,-520.05),(3485.3,285.55),(3004.95,285.55),(3004.95,100),(3004.75,100),(3004.75,285.75),(3485.5,285.75),(3485.5,-520.25)],
  [(3400,-559.95),(3400,-559.75),(3489.5,-559.75),(3489.5,289.75),(2990.25,289.75),(2990.25,100),(2990.05,100),(2990.05,289.95),(3489.7,289.95),(3489.7,-559.95)],
  [(3400,-560.25),(3400,-560.05),(3489.8,-560.05),(3489.8,290.05),(2989.95,290.05),(2989.95,100),(2989.75,100),(2989.75,290.25),(3490,290.25),(3490,-560.25)],
  [(3400,-599.95),(3400,-599.75),(3494,-599.75),(3494,294.25),(2975.25,294.25),(2975.25,100),(2975.05,100),(2975.05,294.45),(3494.2,294.45),(3494.2,-599.95)],
  [(3400,-600.25),(3400,-600.05),(3494.3,-600.05),(3494.3,294.55),(2974.95,294.55),(2974.95,100),(2974.75,100),(2974.75,294.75),(3494.5,294.75),(3494.5,-600.25)],
  [(3400,-639.95),(3400,-639.75),(3498.5,-639.75),(3498.5,298.75),(2960.25,298.75),(2960.25,100),(2960.05,100),(2960.05,298.95),(3498.7,298.95),(3498.7,-639.95)],
  [(3400,-640.25),(3400,-640.05),(3498.8,-640.05),(3498.8,299.05),(2959.95,299.05),(2959.95,100),(2959.75,100),(2959.75,299.25),(3499,299.25),(3499,-640.25)],
  [(3400,-679.95),(3400,-679.75),(3503,-679.75),(3503,303.25),(2945.25,303.25),(2945.25,100),(2945.05,100),(2945.05,303.45),(3503.2,303.45),(3503.2,-679.95)],
  [(3400,-680.25),(3400,-680.05),(3503.3,-680.05),(3503.3,303.55),(2944.95,303.55),(2944.95,100),(2944.75,100),(2944.75,303.75),(3503.5,303.75),(3503.5,-680.25)],
  [(3400,-719.95),(3400,-719.75),(3507.5,-719.75),(3507.5,307.75),(2930.25,307.75),(2930.25,100),(2930.05,100),(2930.05,307.95),(3507.7,307.95),(3507.7,-719.95)],
  [(3400,-720.25),(3400,-720.05),(3507.8,-720.05),(3507.8,308.05),(2929.95,308.05),(2929.95,100),(2929.75,100),(2929.75,308.25),(3508,308.25),(3508,-720.25)],
  [(3400,-759.95),(3400,-759.75),(3512,-759.75),(3512,312.25),(2915.25,312.25),(2915.25,100),(2915.05,100),(2915.05,312.45),(3512.2,312.45),(3512.2,-759.95)],
  [(3400,-760.25),(3400,-760.05),(3512.3,-760.05),(3512.3,312.55),(2914.95,312.55),(2914.95,100),(2914.75,100),(2914.75,312.75),(3512.5,312.75),(3512.5,-760.25)])
R(test_smart_routing_start, FLOORPLAN, [(2900,-110,3100,100), (-100,-100,100,110), (-110,2900,100,3100), (2900,2900,3110,3100)])
P(test_smart_routing_start, FLOORPLAN, [(-400,-200),(-400,760),(-400,760),(-400,-200)],
  [(-760,2600),(-760,2600),(200,2600),(200,2600)],
  [(3400,-760),(3400,200),(3400,200),(3400,-760)],
  [(2800,3400),(2800,3400),(3760,3400),(3760,3400)])

lib.write_gds('test_smart_routing_start_bboxFalse_sort_portsFalse_indirectTrue_start_angle-2m2True_m1False_zTrue_p1True_p2False.gds')
